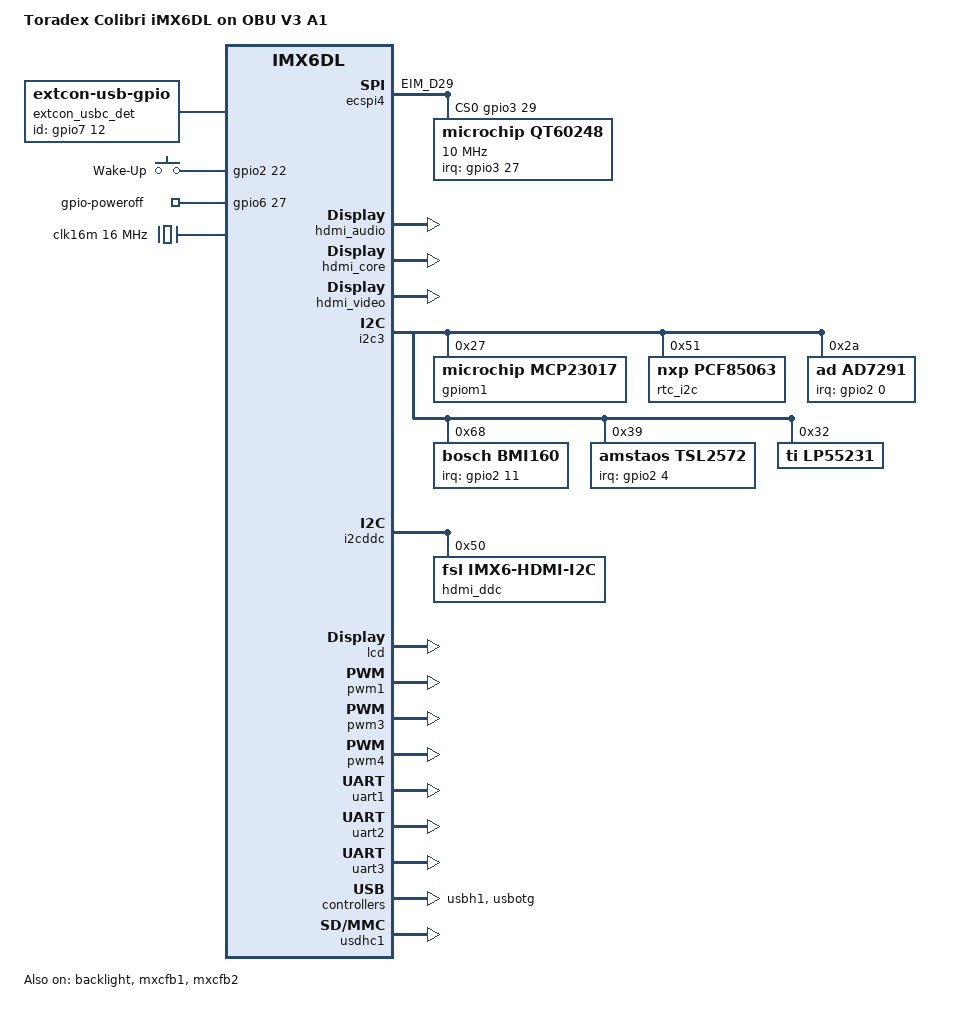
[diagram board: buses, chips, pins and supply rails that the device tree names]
/*
 * Copyright 2014-2015 Toradex AG
 * Copyright 2012 Freescale Semiconductor, Inc.
 * Copyright 2011 Linaro Ltd.
 *
 * The code contained herein is licensed under the GNU General Public
 * License. You may obtain a copy of the GNU General Public License
 * Version 2 or later at the following locations:
 *
 * http://www.opensource.org/licenses/gpl-license.html
 * http://www.gnu.org/copyleft/gpl.html
 */

/dts-v1/;

#include <dt-bindings/input/input.h>
#include <dt-bindings/interrupt-controller/irq.h>
#include "imx6dl.dtsi"
#include "imx6qdl-colibri.dtsi"

/* Add the following define if you connect a Fusion display with a capacitive
   touch controller */
/* #define PCAP */

/ {
	model = "Toradex Colibri iMX6DL on OBU V3 A1";
	compatible = "toradex,colibri_imx6dl-eval", "toradex,colibri_imx6dl", "fsl,imx6dl";

	aliases {
		i2c0 = &i2cddc;
		i2c1 = &i2c2;
		i2c2 = &i2c3;
	};

	aliases {
		rtc0 = &rtc_i2c;
		rtc1 = &snvs_rtc;
	};

	aliases {
		/* the following, together with kernel patches, forces a fixed assignment
		   between device id and usdhc controller */
		/* i.e. the eMMC on usdhc3 will be /dev/mmcblk0 */
		mmc0 = &usdhc3; /* eMMC */
		mmc1 = &usdhc1; /* MMC 4bit slot */
	};

	extcon_usbc_det: usbc_det {
		compatible = "linux,extcon-usb-gpio";
		debounce = <25>;
		id-gpio = <&gpio7 12 GPIO_ACTIVE_HIGH>;
		pinctrl-names = "default";
		pinctrl-0 = <&pinctrl_usbc_det_1>;
	};

	gpio-keys {
		compatible = "gpio-keys";
		pinctrl-names = "default";
		pinctrl-0 = <&pinctrl_gpio_keys>;

		wakeup {
			label = "Wake-Up";
			gpios = <&gpio2 22 GPIO_ACTIVE_HIGH>;
			linux,code = <KEY_WAKEUP>;
			debounce-interval = <10>;
			gpio-key,wakeup;
		};
	};

	regulators {
		reg_usb_host_vbus: usb_host_vbus {
			status = "okay";
		};
	};

	/* Power GPIO gpio6 27*/
	gpio-poweroff {
		compatible = "gpio-poweroff";
		gpios = <&gpio6 27 GPIO_ACTIVE_HIGH>;
		pinctrl-names = "default";
		pinctrl-0 = <&pinctrl_power_gpio>;

	};

/*	gpio-restart {
		compatible = "gpio-restart";
		gpios = <&gpio6 27 GPIO_ACTIVE_HIGH>;
		pinctrl-names = "default";
		pinctrl-0 = <&pinctrl_power_gpio>;
		priority = <128>;
		active-delay = <1200>;
		inactive-delay = <100>;
		wait-delay = <3000>;

	};
*/
};

&backlight {
#if 1 /* PWM polarity: if 1 is brightest */
	pwms = <&pwm3 0 5000000 0>;
#if 0 /* Fusion 7 needs 10kHz PWM frequency */
	pwms = <&pwm3 0 100000 0>;
#endif
#else /* PWM polarity: if 0 is brightest */
	pwms = <&pwm3 0 5000000 1>;
#endif
	brightness-levels = <0 4 8 16 32 64 128 255>;
	default-brightness-level = <6>;
	status = "okay";
};

/ {
	clocks {
		/* fixed crystal dedicated to mcp251x */
		clk16m: clk@1 {
			compatible = "fixed-clock";
			reg=<1>;
			#clock-cells = <0>;
			clock-frequency = <16000000>;
			clock-output-names = "clk16m";
		};
	};
};

/* Colibri SPI */
&ecspi4 {
        fsl,spi-num-chipselects = <2>;
        cs-gpios = <&gpio3 29 0>, <&gpio5 2 0>;
        pinctrl-names = "default";
        pinctrl-0 = <&pinctrl_ecspi4 &pinctrl_spi_cs0 &pinctrl_spi_cs1>;
	status = "okay";

	qt60248: qt60248@0 {
		compatible = "microchip,qt60248";
		reg = <0>;
		interrupt-parent = <&gpio3>;
		interrupts = <27 0x2>;
		spi-max-frequency = <10000000>;
		status = "okay";
	};
	spidev0: spidev@1 {
		compatible = "toradex,evalspi";
		reg = <0>;
		spi-max-frequency = <23000000>;
		status = "disabled";
	};
};

&hdmi_audio {
	status = "okay";
};

&hdmi_core {
	status = "okay";
};

&hdmi_video {
	status = "okay";
};

/*
 * I2C: I2C3_SDA/SCL on SODIMM 194/196 (e.g. RTC on carrier
 * board)
 */
&i2c3 {
	status = "okay";

	/* ADC converter Pullupp resistor && audio amplifier port*/
	gpiom1: gpio@27 {
	    compatible = "microchip,mcp23017";
	    gpio-controller;
	    #gpio-cells = <2>;
	    reg = <0x27>;
	};

	/* PCF85063 real time clock  */
	rtc_i2c: rtc@51 {
	    compatible = "nxp,pcf85063";
	    reg = <0x51>;
	};

	/*  ADC in  */
	ad7291@2a {
	    compatible = "ad,ad7291";
	    reg = <0x2a>;
	    #address-cells = <1>;
	    #size-cells = <0>;
	    interrupt-parent = <&gpio2>;
	    interrupts = <0 IRQ_TYPE_EDGE_FALLING>;
	};


	bmi160@68 {
	    compatible = "bosch,bmi160";
	    reg = <0x68>;
	    interrupt-parent = <&gpio2>;
	    interrupts = <11 IRQ_TYPE_EDGE_RISING>;
	    interrupt-names = "INT1";
	};

	/* Light sensor */
	tsl2572@29 {
	    compatible = "amstaos,tsl2572";
	    reg = <0x39>;
	    interrupt-parent = <&gpio2>;
	    interrupts = <4 IRQ_TYPE_EDGE_FALLING>;
	    interrupts-extended = <&gpio2 4 IRQ_TYPE_EDGE_FALLING>;
	};
	
	/* LP55231 9-channel LED driver  */
	lp55231@32 {
		compatible = "ti,lp55231";
		reg = <0x32>;
		clock-mode = /bits/ 8 <1>;

		chan0 {
			chan-name = "d1";
			led-cur = /bits/ 8 <0x14>;  /* 0x14*10 mA = 2mA */
			max-cur = /bits/ 8 <0x20>;
		};

		chan1 {
			chan-name = "d2";
			led-cur = /bits/ 8 <0x14>;
			max-cur = /bits/ 8 <0x20>;
		};

		chan2 {
			chan-name = "d3";
			led-cur = /bits/ 8 <0x14>;
			max-cur = /bits/ 8 <0x20>;
		};

		chan3 {
			chan-name = "d4";
			led-cur = /bits/ 8 <0x14>;
			max-cur = /bits/ 8 <0x20>;
		};

		chan4 {
			chan-name = "d5";
			led-cur = /bits/ 8 <0x14>;
			max-cur = /bits/ 8 <0x20>;
		};

		chan5 {
			chan-name = "d6";
			led-cur = /bits/ 8 <0x14>;
			max-cur = /bits/ 8 <0x20>;
		};

		chan6 {
			chan-name = "d7";
			led-cur = /bits/ 8 <0x14>;
			max-cur = /bits/ 8 <0x20>;
		};

		chan7 {
			chan-name = "d8";
			led-cur = /bits/ 8 <0x14>;
			max-cur = /bits/ 8 <0x20>;
		};

		chan8 {
			chan-name = "d9";
			led-cur = /bits/ 8 <0x14>;
			max-cur = /bits/ 8 <0x20>;
		};
	};

	
};

/*
 * DDC_I2C: I2C2_SDA/SCL on extension connector pin 15/16
 */
&i2cddc {
	status = "okay";

	hdmi_ddc: edid@50 {
		compatible = "fsl,imx6-hdmi-i2c";
		reg = <0x50>;
	};
};


&iomuxc {
	/*
	 * Mux all pins which are unused to be GPIOs
	 * so they are ready for export to user space
	 */
	pinctrl-names = "default";
	pinctrl-0 = <&pinctrl_weim_gpio_1
	             &pinctrl_weim_gpio_3 &pinctrl_adc_alert_gpio
	             &pinctrl_weim_gpio_5 &pinctrl_weim_gpio_6
	             &pinctrl_csi_gpio_2
	             &pinctrl_gpio_1 &pinctrl_nxp_pn7462_gpio
	             &pinctrl_gpio_2 &pinctrl_myled_gpio
	             &pinctrl_usbh_oc_1 &pinctrl_usbc_id_1
	             &pinctrl_stm32_reset_gpio &pinctrl_mwifi_reset>;

	gpio {
		pinctrl_adc_alert_gpio: adc_gpio {
			fsl,pins = <
				MX6QDL_PAD_NANDF_D0__GPIO2_IO00 PAD_CTRL_HYS_PU
			>;
		};

		pinctrl_pcap_1: pcap-1 {
			fsl,pins = <
				MX6QDL_PAD_GPIO_9__GPIO1_IO09	PAD_CTRL_HYS_PD /* SODIMM 28 */
				MX6QDL_PAD_SD4_DAT2__GPIO2_IO10	PAD_CTRL_HYS_PD /* SODIMM 30 */
			>;
		};

		pinctrl_power_gpio: power-gpio {
			fsl,pins = <
				MX6QDL_PAD_RGMII_RD1__GPIO6_IO27	PAD_CTRL_HYS_PD
			>;
		};
		pinctrl_reset_gpio: reset-gpio {
			fsl,pins = <
				MX6QDL_PAD_EIM_RW__GPIO2_IO26		0x17830   /* PAD_CTRL_HYS_PD */
			>;
		};
		pinctrl_nxp_pn7462_gpio: pn7462-gpio {
			fsl,pins = <
				MX6QDL_PAD_EIM_DA0__GPIO3_IO00	PAD_CTRL_HYS_PD
				MX6QDL_PAD_EIM_DA1__GPIO3_IO01	PAD_CTRL_HYS_PD
			>;
		};
		pinctrl_myled_gpio: myled-gpio {
			fsl,pins = <
				MX6QDL_PAD_DISP0_DAT22__GPIO5_IO16	PAD_CTRL_HYS_PD
			>;
		};
		pinctrl_stm32_reset_gpio: stm32-reset-gpio {
			fsl,pins = <
				MX6QDL_PAD_GPIO_1__GPIO1_IO01	PAD_CTRL_IN
				MX6QDL_PAD_EIM_A21__GPIO2_IO17	PAD_CTRL_HYS_PD
				MX6QDL_PAD_SD2_CMD__GPIO1_IO11	PAD_CTRL_HYS_PU
			>;
		};
		pinctrl_spi_cs0: spi_cs0 {
			fsl,pins = <
				MX6QDL_PAD_EIM_D29__GPIO3_IO29   PAD_CTRL_HYS_PU
			>;
		};
		pinctrl_mwifi_reset: mwifi-reset {
			fsl,pins = <
				MX6QDL_PAD_EIM_A17__GPIO2_IO21   PAD_CTRL_HYS_PU
			>;
		};
	};
};



&lcd {
	status = "okay";
};

&mxcfb1 {
	status = "okay";
};

&mxcfb2 {
	status = "okay";
};

#ifndef PCAP
&pwm1 {
	status = "okay";
};
#endif

&pwm2 {
	status = "disable";
};

&pwm3 {
	status = "okay";
};

&pwm4 {
	status = "okay";
};


&sound_hdmi {
	status = "okay";
};

&uart1 {
	status = "okay";
};

&uart2 {
	status = "okay";
#if 0
	linux,rs485-enabled-at-boot-time;
#endif
};

&uart3 {
	status = "okay";
};

&usbh1 {
	status = "okay";
};

&usbotg {
	status = "okay";
	extcon = <&extcon_usbc_det>, <&extcon_usbc_det>;
};

/* MMC */
&usdhc1 {
	status = "okay";
};


